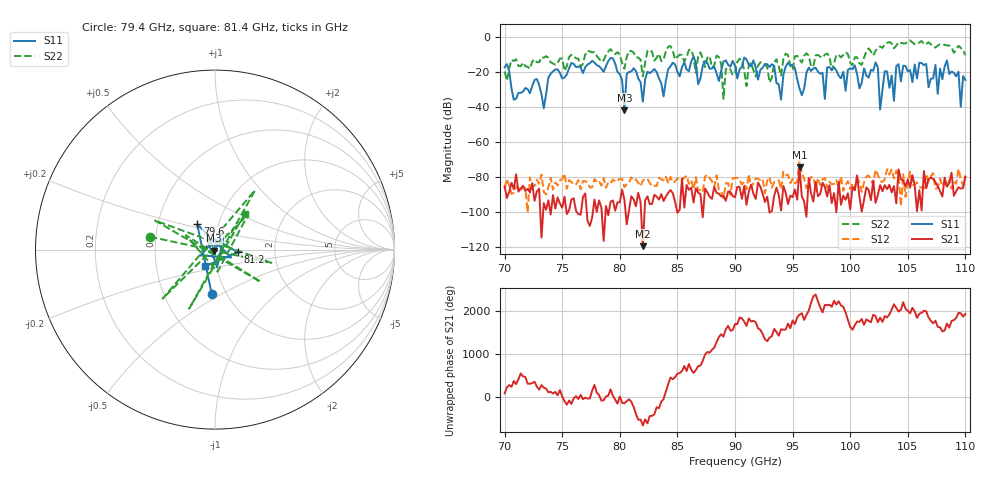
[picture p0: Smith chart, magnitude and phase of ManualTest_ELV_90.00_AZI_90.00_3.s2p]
! 11/25/2026 12:34:16 PM
! C:\ANRITSUVNA\TEMP\TEMP.S2P
! CHANNEL.1
! TR.MEASUREMENT
! RAW.DATA
# HZ S RI R 50.0
! FREQ.HZ  S11RE  S11IM  S21RE  S21IM  S12RE  S12IM  S22RE  S22IM
!; PortSelection: Port_12
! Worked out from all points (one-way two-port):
!   201 points, 70 GHz to 110 GHz, reference 50 ohm
!   highest |S21| = -74.57 dB at 95.6 GHz (marker M1); lowest = -119.7 dB at 82 GHz (marker M2)
!   lowest |S11| = -41.9 dB at 80.4 GHz (marker M3), VSWR 1.02, Z = 49.4 - j0.559 ohm
!   |S11| at or under -10 dB: start of sweep to end of sweep
!   |S22| runs from -35.4 to -2.0 dB; largest |S21 - S12| = 0.00049
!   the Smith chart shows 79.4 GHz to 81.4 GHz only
!   S11 on the Smith chart (normalised r, x): 79.4 GHz: 0.86, -0.45; 79.6 GHz: 0.79, +0.23; 81.2 GHz: 1.29, -0.04; 81.4 GHz: 0.88, -0.17
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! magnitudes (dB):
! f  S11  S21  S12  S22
! 70 GHz  -17.4  -85.5  -86.7  -19.8
! 73.4 GHz  -40.9  -95.0  -88.7  -11.9
! 74.2 GHz  -19.7  -90.5  -87.4  -15.2
! 76.8 GHz  -20.6  -91.6  -82.6  -15.3
! 79.4 GHz  -12.2  -93.5  -81.5  -8.7
! 79.6 GHz  -15.3  -99.4  -82.8  -9.8
! 80.4 GHz  -41.9  -93.1  -85.9  -18.2
! 81.2 GHz  -17.9  -93.0  -82.2  -8.9
! 81.4 GHz  -19.4  -96.9  -81.6  -11.6
! 82 GHz  -37.0  -119.7  -82.2  -22.5
! 83.4 GHz  -23.6  -93.1  -80.6  -9.7
! 88.6 GHz  -25.2  -89.7  -87.4  -11.4
! 89 GHz  -14.0  -90.8  -92.4  -35.4
! 90 GHz  -16.5  -91.8  -80.7  -20.8
! 95.6 GHz  -29.4  -74.6  -70.3  -12.7
! 96.8 GHz  -18.0  -94.2  -80.2  -16.9
! 97.8 GHz  -35.5  -85.9  -80.6  -10.1
! 98 GHz  -17.4  -91.3  -86.5  -9.4
! 103.4 GHz  -29.1  -84.6  -78.7  -2.9
! 108.4 GHz  -13.4  -85.7  -85.6  -4.8
! 109.6 GHz  -39.9  -86.8  -81.2  -6.2
! 110 GHz  -24.6  -79.9  -79.4  -10.4
